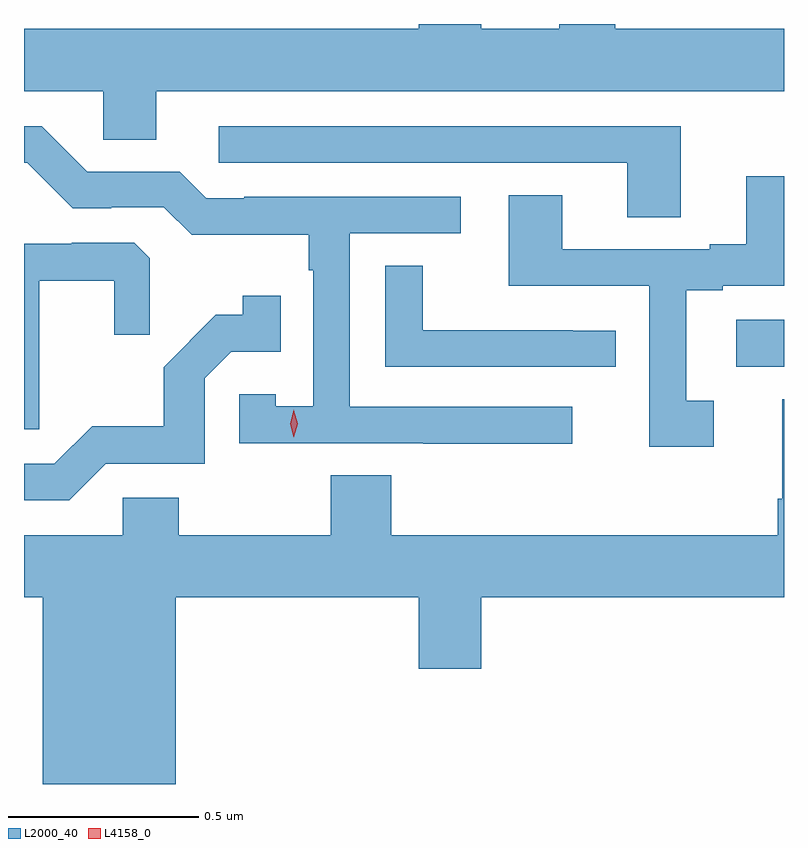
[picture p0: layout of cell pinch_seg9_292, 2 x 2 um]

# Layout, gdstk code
import gdstk
lib = gdstk.Library(unit=1e-6, precision=1e-09)
def R(c, l, rs):  # rectangles x0, y0, x1, y1
    for r in rs: c.add(gdstk.rectangle(r[:2], r[2:], *l))
def P(c, l, *ps):  # polygons
    for p in ps: c.add(gdstk.Polygon(p, *l))
L2000_40 = (2000, 40)
L4158_0 = (4158, 0)

pinch_seg9_292 = lib.new_cell('pinch_seg9_292')
R(pinch_seg9_292, L2000_40, [(453.555,1185.039,453.681,1185.163)])
P(pinch_seg9_292, L2000_40, [(452.029,1185.764),(453.681,1185.764),(453.681,1185.928),(453.237,1185.928),(453.237,1185.941),(453.089,1185.941),(453.089,1185.928),(452.884,1185.928),(452.884,1185.941),(452.72,1185.941),(452.72,1185.928),(451.681,1185.928),(451.681,1185.764),(451.89,1185.764),(451.89,1185.637),(452.029,1185.637)],
  [(453.124,1184.934),(452.538,1184.934),(452.538,1185.39),(452.83,1185.39),(452.83,1185.486),(452.26,1185.486),(452.26,1185.483),(452.16,1185.483),(452.091,1185.552),(451.848,1185.552),(451.728,1185.672),(451.681,1185.672),(451.681,1185.576),(451.689,1185.576),(451.809,1185.456),(451.91,1185.456),(451.91,1185.459),(452.049,1185.459),(452.122,1185.386),(452.43,1185.386),(452.43,1185.293),(452.442,1185.293),(452.442,1184.935),(452.343,1184.935),(452.343,1184.967),(452.247,1184.967),(452.247,1184.838),(452.731,1184.838),(452.731,1184.836),(453.124,1184.836)],
  [(453.409,1185.672),(452.193,1185.672),(452.193,1185.576),(453.269,1185.576),(453.269,1185.433),(453.409,1185.433)],
  [(453.496,1184.949),(453.424,1184.949),(453.424,1185.24),(453.52,1185.24),(453.52,1185.252),(453.681,1185.252),(453.681,1185.541),(453.581,1185.541),(453.581,1185.361),(453.485,1185.361),(453.485,1185.348),(453.097,1185.348),(453.097,1185.491),(452.957,1185.491),(452.957,1185.252),(453.327,1185.252),(453.327,1184.829),(453.496,1184.829)],
  [(451.721,1185.266),(451.918,1185.266),(451.918,1185.123),(452.012,1185.123),(452.012,1185.325),(451.971,1185.366),(451.806,1185.366),(451.806,1185.363),(451.681,1185.363),(451.681,1184.874),(451.721,1184.874)],
  [(453.238,1185.134),(453.125,1185.134),(453.125,1185.135),(452.73,1185.135),(452.73,1185.305),(452.631,1185.305),(452.631,1185.039),(453.238,1185.039)],
  [(451.896,1184.784),(452.157,1184.784),(452.157,1185.009),(452.226,1185.078),(452.357,1185.078),(452.357,1185.226),(452.256,1185.226),(452.256,1185.176),(452.186,1185.176),(452.049,1185.038),(452.049,1184.883),(451.86,1184.883),(451.761,1184.784),(451.681,1184.784),(451.681,1184.688),(451.8,1184.688)],
  [(452.08,1184.432),(452.72,1184.432),(452.72,1184.244),(452.884,1184.244),(452.884,1184.432),(453.681,1184.432),(453.681,1184.953),(453.677,1184.953),(453.677,1184.692),(453.665,1184.692),(453.665,1184.596),(452.648,1184.596),(452.648,1184.753),(452.488,1184.753),(452.488,1184.596),(452.088,1184.596),(452.088,1184.694),(451.941,1184.694),(451.941,1184.596),(451.681,1184.596),(451.681,1184.432),(451.73,1184.432),(451.73,1183.941),(452.08,1183.941)])
P(pinch_seg9_292, L4158_0, [(452.391,1184.853),(452.391,1184.853),(452.381,1184.889),(452.391,1184.925),(452.391,1184.926),(452.391,1184.925),(452.401,1184.889),(452.391,1184.853)])

lib.write_gds('pinch_seg9_292.gds')
